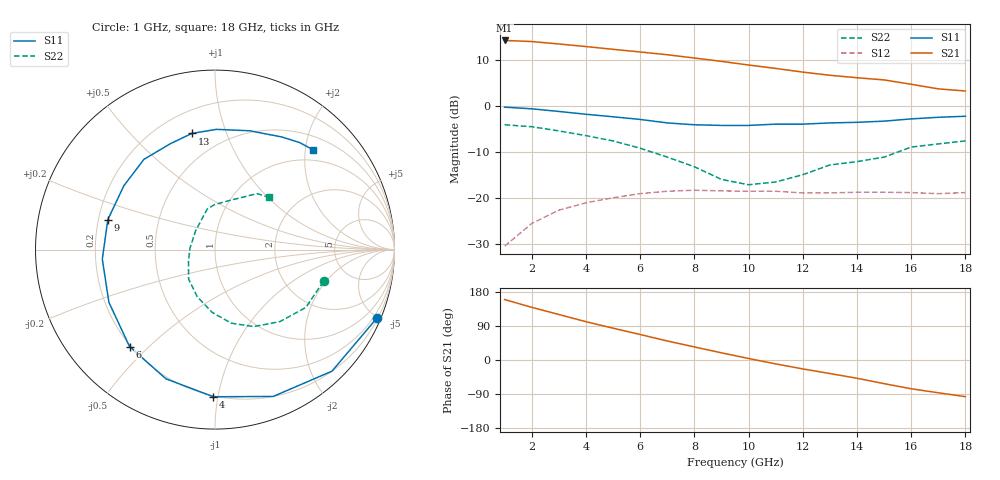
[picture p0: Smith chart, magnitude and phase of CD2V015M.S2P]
! SIEMENS Small Signal Semiconductors
! CFY77-10
! GaAs HEMT in MW-4
! VDS = 2 V  ID = 15 mA
! Common Source S-Parameters:  September  1992
# GHz  S  MA  R  50
!  f  S11  S21  S12  S22
! GHz  MAG  ANG  MAG  ANG  MAG  ANG  MAG  ANG
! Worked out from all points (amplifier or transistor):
!   18 points, 1 GHz to 18 GHz, reference 50 ohm
!   highest |S21| = 14.4 dB at 1 GHz (marker M1)
!   |S21| within 3 dB of that: start of sweep to 6.82 GHz
!   unconditionally stable (mu >= 1): 10.41 GHz to end of sweep
!   at 4 GHz: K = 0.41, MSG = 17.0 dB, |S12| = -21.0 dB
!   at 10 GHz: K = 0.98, MSG = 13.7 dB, |S12| = -18.5 dB
!   at 18 GHz: K = 1.11, MAG = 9.1 dB, |S12| = -18.8 dB
!   lowest NFmin = 0.40 dB at 2 GHz
!   S11 on the Smith chart (normalised r, x): 1 GHz: 0.26, -4.95; 4 GHz: 0.19, -0.97; 6 GHz: 0.19, -0.44; 9 GHz: 0.24, +0.13; 13 GHz: 0.33, +0.76; 18 GHz: 0.76, +2.17
1  0.98 -22.8  5.22 159.6  0.03 87.5  0.63 -16.3
2  0.94 -46.1  5.08 139.0  0.053 57.8  0.6 -32.5
3  0.88 -68.4  4.78 120.1  0.074 44.9  0.54 -48.0
4  0.82 -90.6  4.48 101.1  0.089 30.7  0.48 -63.3
5  0.77 -110.8  4.18 84.0  0.101 18.1  0.42 -77.5
6  0.72 -131.4  3.91 67.3  0.112 7.9  0.35 -92.6
7  0.66 -153.6  3.65 50.2  0.119 -3.3  0.28 -110.8
8  0.63 -175.2  3.36 34.5  0.122 -12.7  0.22 -132.0
9  0.62 164.4  3.09 18.9  0.12 -22.0  0.16 -157.3
10  0.62 145.0  2.82 4.0  0.119 -29.5  0.14 177.3
11  0.64 128.3  2.59 -10.3  0.119 -37.4  0.15 136.2
12  0.64 113.1  2.36 -23.5  0.114 -44.0  0.18 115.4
13  0.66 101.3  2.18 -35.7  0.114 -47.3  0.23 100.9
14  0.67 89.4  2.05 -48.2  0.116 -53.1  0.25 91.0
15  0.69 73.6  1.94 -62.4  0.116 -58.6  0.28 75.4
16  0.73 59.2  1.74 -75.9  0.115 -65.8  0.36 57.1
17  0.76 51.7  1.55 -86.5  0.112 -69.4  0.39 53.1
18  0.78 45.4  1.47 -96.7  0.115 -72.3  0.42 43.8
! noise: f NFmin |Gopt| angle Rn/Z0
2  0.4  0.79  27  0.27
4  0.51  0.72  60  0.2
6  0.61  0.63  92  0.12
8  0.71  0.56  134  0.05
10  0.81  0.52  180  0.02
12  0.92  0.54  -135  0.06
14  1.04  0.59  -108  0.14
